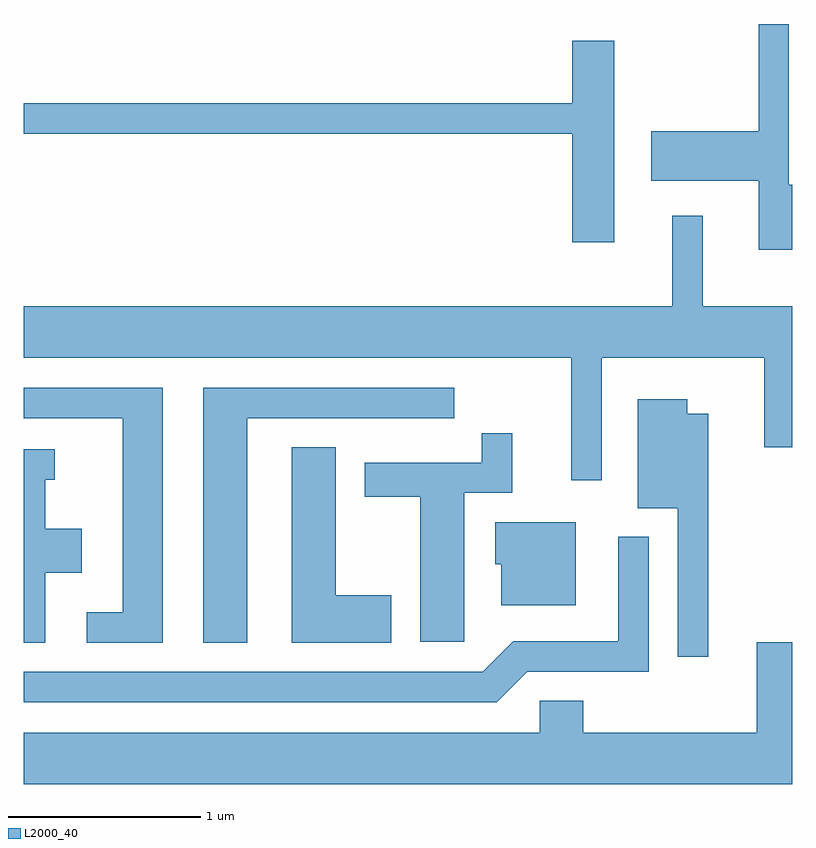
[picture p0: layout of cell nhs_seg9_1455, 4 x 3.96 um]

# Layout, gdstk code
import gdstk
lib = gdstk.Library(unit=1e-6, precision=1e-09)
def P(c, l, *ps):  # polygons
    for p in ps: c.add(gdstk.Polygon(p, *l))
L2000_40 = (2000, 40)

nhs_seg9_1455 = lib.new_cell('nhs_seg9_1455')
P(nhs_seg9_1455, L2000_40, [(231.611,2001.594),(231.594,2001.594),(231.594,2002.432),(231.436,2002.432),(231.436,2001.874),(230.876,2001.874),(230.876,2001.616),(231.436,2001.616),(231.436,2001.256),(231.611,2001.256)],
  [(230.684,2002.344),(230.466,2002.344),(230.466,2002.019),(227.611,2002.019),(227.611,2001.861),(230.466,2001.861),(230.466,2001.296),(230.684,2001.296)],
  [(230.619,2000.696),(231.466,2000.696),(231.466,2000.228),(231.611,2000.228),(231.611,2000.964),(231.144,2000.964),(231.144,2001.433),(230.986,2001.433),(230.986,2000.964),(227.611,2000.964),(227.611,2000.696),(230.461,2000.696),(230.461,2000.058),(230.619,2000.058)],
  [(228.334,2000.539),(227.611,2000.539),(227.611,2000.381),(228.126,2000.381),(228.126,1999.369),(227.938,1999.369),(227.938,1999.211),(228.334,1999.211)],
  [(228.774,2000.381),(229.853,2000.381),(229.853,2000.539),(228.546,2000.539),(228.546,1999.211),(228.774,1999.211)],
  [(231.174,2000.404),(231.064,2000.404),(231.064,2000.479),(230.806,2000.479),(230.806,1999.911),(231.016,1999.911),(231.016,1999.138),(231.174,1999.138)],
  [(229.904,1999.991),(230.154,1999.991),(230.154,2000.303),(229.996,2000.303),(229.996,2000.149),(229.386,2000.149),(229.386,1999.971),(229.676,1999.971),(229.676,1999.216),(229.904,1999.216)],
  [(229.524,1999.459),(229.234,1999.459),(229.234,2000.229),(229.006,2000.229),(229.006,1999.211),(229.524,1999.211)],
  [(227.724,1999.576),(227.914,1999.576),(227.914,1999.804),(227.724,1999.804),(227.724,2000.061),(227.773,2000.061),(227.773,2000.219),(227.611,2000.219),(227.611,1999.211),(227.724,1999.211)],
  [(230.484,1999.839),(230.066,1999.839),(230.066,1999.621),(230.096,1999.621),(230.096,1999.406),(230.484,1999.406)],
  [(230.232,1999.061),(230.864,1999.061),(230.864,1999.763),(230.706,1999.763),(230.706,1999.219),(230.159,1999.219),(229.999,1999.059),(227.611,1999.059),(227.611,1998.901),(230.072,1998.901)],
  [(231.611,1999.214),(231.426,1999.214),(231.426,1998.744),(230.524,1998.744),(230.524,1998.909),(230.296,1998.909),(230.296,1998.744),(227.611,1998.744),(227.611,1998.476),(231.611,1998.476)])

lib.write_gds('nhs_seg9_1455.gds')
